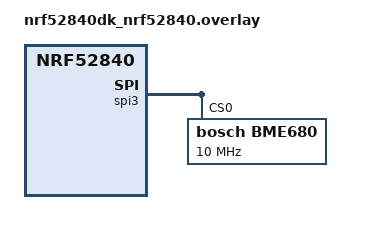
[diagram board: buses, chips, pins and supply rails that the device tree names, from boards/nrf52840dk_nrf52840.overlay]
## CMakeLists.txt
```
# SPDX-License-Identifier: Apache-2.0

cmake_minimum_required(VERSION 3.20.0)

find_package(Zephyr REQUIRED HINTS $ENV{ZEPHYR_BASE})
project(sensor_spi)

target_sources(app PRIVATE src/main.c)
```

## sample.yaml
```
sample:
  name: spi communication with BME680 sensor 
  description: |
    This sample demonstrates how to communicate with a BME680 sensor over SPI.
    It reads temperature, pressure, and humidity data from the sensor.
    The sample is designed to run on Nucleo F446RE and nRF52840 DK boards.
tests:
  zephyr_apps.spi:
    tags:
      - spi
    integration_platforms:
      - nucleo_f446re
      - nrf52840dk/nrf52840
    platform_allow:
      - nucleo_f446re
      - nrf52840dk/nrf52840


# Connection to the Nucleo board
Nucleo_f446re :
# Connection to the Nucleo board and sensor
  spi1:
      SCK  (#arduino D13) : SCL  sensor
      MOSI (#arduino D11): SDA sensor
      MISO (#arduino D12): SDO sensor
      CS   (#arduino D10): CS  sensor
      VCC: VCC 3.3V
      GND: GND     
nrf52840dk :
  # Connection to the Nucleo board and sensor
  spi1:
    SCK  : SCL sensor # Port P1.15 #arduino D13
    MOSI : SDA sensor # Port P1.13 #arduino D11
    MISO : SDO sensor # Port P1.14 #arduino D12
    CS   : CS sensor # Port P1.16 #arduino D10
    VCC: VCC 3.3V   
    GND: GND
  
```

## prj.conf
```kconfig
CONFIG_SPI=y
CONFIG_SENSOR=y
CONFIG_BME680=y
CONFIG_GPIO=y
CONFIG_CBPRINTF_FP_SUPPORT=y
```

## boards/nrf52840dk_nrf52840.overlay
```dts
&spi3 {
	status = "okay";
	pinctrl-0 = <&spi3_default>;
	pinctrl-1 = <&spi3_sleep>;
	pinctrl-names = "default", "sleep";
	 mysensor: bme680@0 {
        compatible = "bosch,bme680";
        spi-max-frequency = <10000000>;
        reg = <0>;  
        label = "BME680";
    };
};
```

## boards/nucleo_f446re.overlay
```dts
&spi1 {

    cs-gpios = <&gpiob 6 GPIO_ACTIVE_LOW>; // CS pin for SPI1

    mysensor: bme680@0 {
        compatible = "bosch,bme680";
        spi-max-frequency = <10000000>;
        reg = <0>;  
        label = "BME680";
    };
    status = "okay";
};
```

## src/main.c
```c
#include <zephyr/kernel.h>
#include <zephyr/device.h>
#include <zephyr/drivers/sensor.h>

#define SPI_SENSOR DT_NODELABEL(mysensor) 
const struct device *const bme680 = DEVICE_DT_GET(SPI_SENSOR);


#define SLEEP_TIME_MS 1000 // Sample every 1 second

int main(void)
{
    
    // Check if the BME680 device was found and is ready.
    if (!device_is_ready(bme680)) {
        printk("Error: BME680 device is not ready\n");
        return 0;
    }

    printk("BME680 sensor found and ready.\n");
    printk("Fetching sensor data every %d ms...\n", SLEEP_TIME_MS);

    while (1) {
        struct sensor_value temp, press, humidity;
        int rc;

        // Trigger a sensor measurement fetch
        rc = sensor_sample_fetch(bme680);
        if (rc != 0) {
            printk("Sensor sample fetch failed (error %d)\n", rc);
            k_sleep(K_MSEC(SLEEP_TIME_MS)); // Wait before trying again
            continue;
        }

        // Get individual sensor readings
        rc = sensor_channel_get(bme680, SENSOR_CHAN_AMBIENT_TEMP, &temp);
        if (rc == 0) {
            rc = sensor_channel_get(bme680, SENSOR_CHAN_PRESS, &press);
        }
        if (rc == 0) {
            rc = sensor_channel_get(bme680, SENSOR_CHAN_HUMIDITY, &humidity);
        }

        if (rc != 0) {
            printk("Failed to get sensor data (error %d)\n", rc);
        } else {
            // Print the sensor values.
            // sensor_value.val1 contains the integer part, sensor_value.val2 contains the fractional part (in micro units).
            // For temperature, val2 is micro-degrees Celsius (multiply by 1e-6)
            // For pressure, val2 is micro-Pascals (multiply by 1e-6)
            // For humidity, val2 is micro-percent (multiply by 1e-6)

            printk("Temperature: %d.%06d C\n", temp.val1, temp.val2);
            printk("Pressure: %d.%06d Pa\n", press.val1, press.val2);
            printk("Humidity: %d.%06d %%RH\n", humidity.val1, humidity.val2);
        }

        // Wait for the next sample
        k_sleep(K_MSEC(SLEEP_TIME_MS));
    }

    return 0;
}
```
